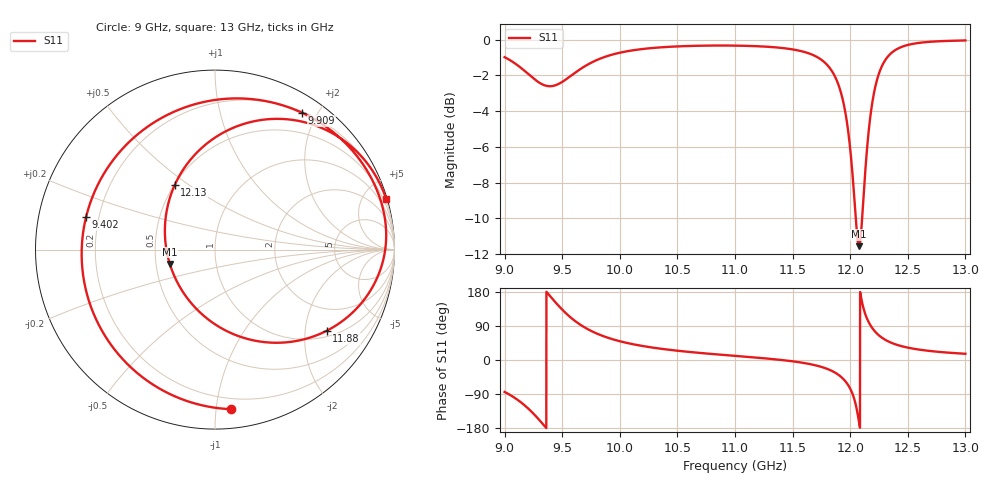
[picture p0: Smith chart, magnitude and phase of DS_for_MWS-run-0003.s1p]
! TOUCHSTONE file generated by CST DESIGN STUDIO
! Date and time: Tue Feb  4 17:39:13 2025
! Project name: C:\Work\MatlabApps\UnitCellOptimizationMatlab\CST\unitcell.cst
! Tree item: Tasks\Sweep1\SPara1\S-Parameters
! Header version: 2024
! Port assignment regex: !\s*Touchstone port\s*([0-9]+)\s*=\s*(CST MWS port|CST DES external port|CST DES block port)\s*(.+)\s* \(\"(.*)\"\)(\s*mode\s*([0-9]+))?.*
! Touchstone port assignment:
! Touchstone port 1 = CST DES external port 1 ("")
# GHz S MA R 50
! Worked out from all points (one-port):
!   4001 points, 9 GHz to 13 GHz, reference 50 ohm
!   lowest |S11| = -11.6 dB at 12.08 GHz (marker M1), VSWR 1.72, Z = 29.6 - j5.06 ohm
!   |S11| at or under -10 dB: 12.04821 GHz to 12.10367 GHz (55.46 MHz wide, 0.459 % of centre)
!   S11 on the Smith chart (normalised r, x): 9 GHz: 0.12, -1.10; 9.402 GHz: 0.15, +0.12; 9.909 GHz: 0.22, +1.80; 11.88 GHz: 1.18, -2.61; 12.13 GHz: 0.50, +0.44; 13 GHz: 0.12, +6.95
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9  0.8934 -84.3
9.105  0.8515 -103.4
9.195  0.8069 -125.3
9.307  0.7559 -160.3
9.402  0.7409 165.9
9.5  0.7618 133.0
9.578  0.7934 111.0
9.663  0.8296 92.0
9.783  0.8721 72.1
9.909  0.9035 57.5
10  0.9195 49.5
10.216  0.9432 36.0
10.5  0.9577 24.5
11  0.9626 10.9
11.5  0.9394 -3.4
11.74  0.8832 -17.3
11.883  0.7696 -36.0
11.953  0.6384 -54.3
12  0.4949 -75.6
12.037  0.3554 -104.7
12.076  0.2641 -162.5
12.102  0.3106 153.7
12.13  0.4242 121.9
12.18  0.6276 89.5
12.237  0.7805 68.4
12.347  0.9114 46.7
12.5  0.9667 32.6
13  0.9952 16.4
